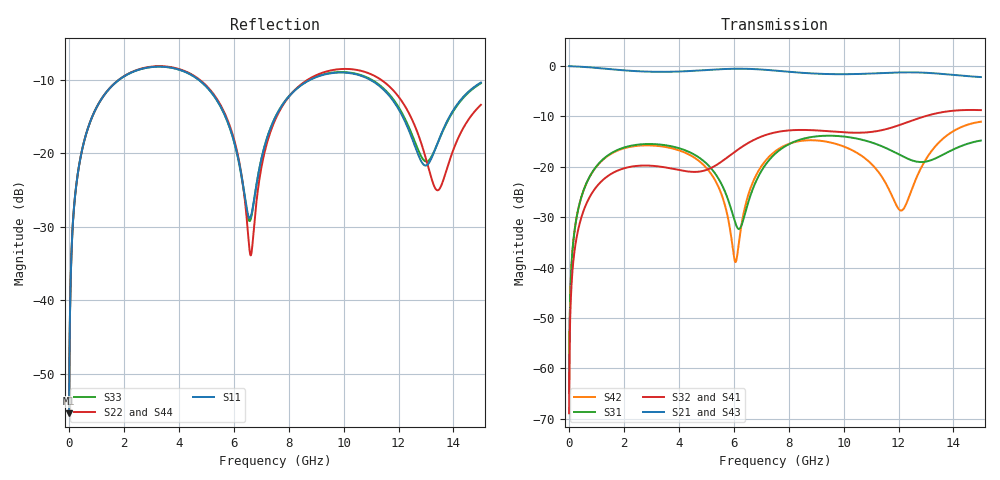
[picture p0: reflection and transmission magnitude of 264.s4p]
! Created with skrf 1.8.0 (http://scikit-rf.org).
# GHz S RI R 50.0
!freq ReS11 ImS11 ReS12 ImS12 ReS13 ImS13
! ReS14 ImS14
! ReS21 ImS21 ReS22 ImS22 ReS23 ImS23
! ReS24 ImS24
! ReS31 ImS31 ReS32 ImS32 ReS33 ImS33
! ReS34 ImS34
! ReS41 ImS41 ReS42 ImS42 ReS43 ImS43
! ReS44 ImS44
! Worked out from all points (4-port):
!   2499 points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, 5 MHz to 15 GHz, reference 50 ohm
!   strongest paths, dB at 5 MHz, 3.476 GHz, 7.19 GHz, 11.1 GHz, 15 GHz:
!     S21: 0.0, -1.1, -0.7, -1.5, -2.2
!     S43: 0.0, -1.1, -0.7, -1.5, -2.2
!     S32: -68.9, -20.1, -13.6, -13.0, -8.7
!     S41: -68.9, -20.1, -13.6, -13.1, -8.8
!     S31: -64.8, -15.7, -19.3, -15.3, -14.8
!     S42: -64.8, -16.0, -18.6, -19.9, -11.0
!   lowest |S11| = -55.4 dB at 5 MHz (marker M1), VSWR 1.00, Z = 50.1 + j0.103 ohm
!   |S11| at or under -10 dB: start of sweep to 1.824 GHz; 4.725 GHz to 8.788 GHz (4.063 GHz wide, 60.1 % of centre); 10.97 GHz to end of sweep
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0.005  0.00136 0.00103  0.9986 -0.00265  6.86e-05 0.00057  -6.65e-05 -0.000352
       0.9986 -0.00265  0.00136 0.00103  -6.65e-05 -0.000352  6.85e-05 0.00057
       6.86e-05 0.00057  -6.65e-05 -0.000352  0.00136 0.00103  0.9986 -0.00265
       -6.65e-05 -0.000352  6.85e-05 0.00057  0.9986 -0.00265  0.00136 0.00103
0.3626511  0.0219 0.0786  0.9698 -0.1912  0.011 0.0393  -0.00883 -0.0241
           0.9698 -0.1912  0.022 0.0786  -0.00883 -0.0241  0.0104 0.0394
           0.011 0.0393  -0.00883 -0.0241  0.0219 0.0786  0.9698 -0.1912
           -0.00883 -0.0241  0.0104 0.0394  0.9698 -0.1912  0.022 0.0786
1.67  0.2335 0.1876  0.6206 -0.684  0.1243 0.0705  -0.0873 -0.0179
      0.6206 -0.684  0.2356 0.1865  -0.0874 -0.0179  0.1172 0.0785
      0.1243 0.0705  -0.0874 -0.0179  0.2334 0.1876  0.6206 -0.684
      -0.0873 -0.0179  0.1172 0.0785  0.6206 -0.684  0.2357 0.1864
6.058774  0.0597 -0.0945  -0.8862 -0.3188  -0.0235 -0.0147  -0.044 0.1353
          -0.8862 -0.3188  0.0464 -0.1054  -0.0431 0.1356  0.0112 0.00165
          -0.0235 -0.0147  -0.0431 0.1356  0.0583 -0.0941  -0.8864 -0.3185
          -0.044 0.1353  0.0112 0.00165  -0.8864 -0.3185  0.0473 -0.1044
6.640267  0.0371 0.00941  -0.936 -0.045  -0.00654 0.0547  -0.00376 0.1795
          -0.936 -0.045  0.0205 0.00308  -0.00272 0.1796  0.0209 0.0611
          -0.00654 0.0547  -0.00272 0.1796  0.0354 0.0104  -0.936 -0.0444
          -0.00376 0.1795  0.0209 0.0611  -0.936 -0.0444  0.0221 0.00429
10.66069  0.3256 -0.08  0.1526 0.8234  0.0977 -0.1585  0.1968 -0.091
          0.1526 0.8234  0.349 -0.0993  0.197 -0.0946  0.1199 -0.0462
          0.0977 -0.1585  0.197 -0.0946  0.3303 -0.0763  0.152 0.8217
          0.1968 -0.091  0.1199 -0.0462  0.152 0.8217  0.3531 -0.1042
15  0.2798 0.1161  0.6182 -0.4733  0.1433 0.1131  -0.2703 -0.2444
    0.6182 -0.4733  0.1855 0.1061  -0.2754 -0.2407  0.2762 0.0504
    0.1433 0.1131  -0.2754 -0.2407  0.2772 0.1131  0.619 -0.4734
    -0.2703 -0.2444  0.2762 0.0504  0.619 -0.4734  0.1862 0.1038
